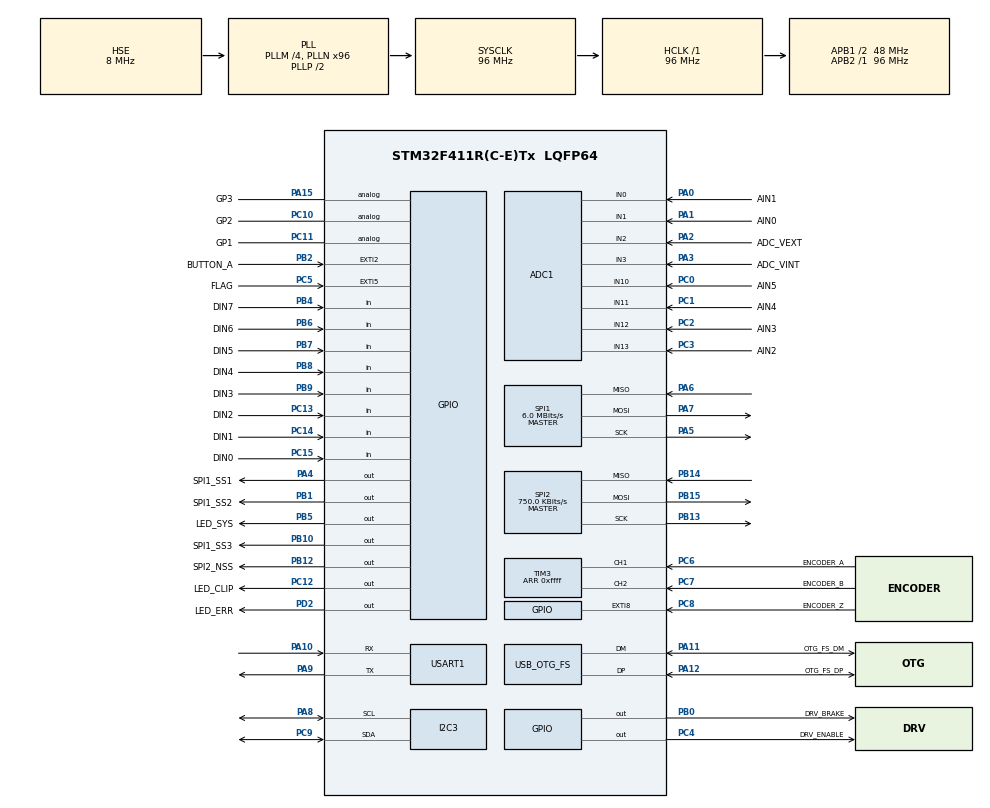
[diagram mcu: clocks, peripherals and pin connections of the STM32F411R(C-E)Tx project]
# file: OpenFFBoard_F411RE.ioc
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ADC1.Channel-1\#ChannelRegularConversion=ADC_CHANNEL_1
ADC1.Channel-12\#ChannelRegularConversion=ADC_CHANNEL_TEMPSENSOR
ADC1.Channel-2\#ChannelRegularConversion=ADC_CHANNEL_0
ADC1.Channel-3\#ChannelRegularConversion=ADC_CHANNEL_13
ADC1.Channel-4\#ChannelRegularConversion=ADC_CHANNEL_12
ADC1.Channel-5\#ChannelRegularConversion=ADC_CHANNEL_11
ADC1.Channel-6\#ChannelRegularConversion=ADC_CHANNEL_10
ADC1.Channel-7\#ChannelRegularConversion=ADC_CHANNEL_2
ADC1.Channel-8\#ChannelRegularConversion=ADC_CHANNEL_3
ADC1.ContinuousConvMode=ENABLE
ADC1.DMAContinuousRequests=ENABLE
ADC1.InjNumberOfConversion=0
ADC1.NbrOfConversion=9
ADC1.Rank-1\#ChannelRegularConversion=1
ADC1.Rank-12\#ChannelRegularConversion=9
ADC1.Rank-2\#ChannelRegularConversion=2
ADC1.Rank-3\#ChannelRegularConversion=3
ADC1.Rank-4\#ChannelRegularConversion=4
ADC1.Rank-5\#ChannelRegularConversion=5
ADC1.Rank-6\#ChannelRegularConversion=6
ADC1.Rank-7\#ChannelRegularConversion=7
ADC1.Rank-8\#ChannelRegularConversion=8
ADC1.SamplingTime-1\#ChannelRegularConversion=ADC_SAMPLETIME_56CYCLES
ADC1.SamplingTime-12\#ChannelRegularConversion=ADC_SAMPLETIME_3CYCLES
ADC1.SamplingTime-2\#ChannelRegularConversion=ADC_SAMPLETIME_56CYCLES
ADC1.SamplingTime-3\#ChannelRegularConversion=ADC_SAMPLETIME_56CYCLES
ADC1.SamplingTime-4\#ChannelRegularConversion=ADC_SAMPLETIME_56CYCLES
ADC1.SamplingTime-5\#ChannelRegularConversion=ADC_SAMPLETIME_56CYCLES
ADC1.SamplingTime-6\#ChannelRegularConversion=ADC_SAMPLETIME_56CYCLES
ADC1.SamplingTime-7\#ChannelRegularConversion=ADC_SAMPLETIME_28CYCLES
ADC1.SamplingTime-8\#ChannelRegularConversion=ADC_SAMPLETIME_28CYCLES
ADC1.master=1
Dma.ADC1.0.Direction=DMA_PERIPH_TO_MEMORY
Dma.ADC1.0.FIFOMode=DMA_FIFOMODE_DISABLE
Dma.ADC1.0.Instance=DMA2_Stream0
Dma.ADC1.0.MemDataAlignment=DMA_MDATAALIGN_WORD
Dma.ADC1.0.MemInc=DMA_MINC_ENABLE
Dma.ADC1.0.Mode=DMA_CIRCULAR
Dma.ADC1.0.PeriphDataAlignment=DMA_PDATAALIGN_WORD
Dma.ADC1.0.PeriphInc=DMA_PINC_DISABLE
Dma.ADC1.0.Priority=DMA_PRIORITY_MEDIUM
Dma.Request0=ADC1
Dma.Request1=SPI1_TX
Dma.Request2=SPI2_RX
Dma.Request3=SPI2_TX
Dma.Request4=SPI1_RX
Dma.SPI1_RX.4.Direction=DMA_PERIPH_TO_MEMORY
Dma.SPI1_RX.4.FIFOMode=DMA_FIFOMODE_DISABLE
Dma.SPI1_RX.4.Instance=DMA2_Stream2
Dma.SPI1_RX.4.MemDataAlignment=DMA_MDATAALIGN_BYTE
Dma.SPI1_RX.4.MemInc=DMA_MINC_ENABLE
Dma.SPI1_RX.4.Mode=DMA_NORMAL
Dma.SPI1_RX.4.PeriphDataAlignment=DMA_PDATAALIGN_BYTE
Dma.SPI1_RX.4.PeriphInc=DMA_PINC_DISABLE
Dma.SPI1_RX.4.Priority=DMA_PRIORITY_HIGH
Dma.SPI1_TX.1.Direction=DMA_MEMORY_TO_PERIPH
Dma.SPI1_TX.1.FIFOMode=DMA_FIFOMODE_DISABLE
Dma.SPI1_TX.1.Instance=DMA2_Stream3
Dma.SPI1_TX.1.MemDataAlignment=DMA_MDATAALIGN_BYTE
Dma.SPI1_TX.1.MemInc=DMA_MINC_ENABLE
Dma.SPI1_TX.1.Mode=DMA_NORMAL
Dma.SPI1_TX.1.PeriphDataAlignment=DMA_PDATAALIGN_BYTE
Dma.SPI1_TX.1.PeriphInc=DMA_PINC_DISABLE
Dma.SPI1_TX.1.Priority=DMA_PRIORITY_HIGH
Dma.SPI2_RX.2.Direction=DMA_PERIPH_TO_MEMORY
Dma.SPI2_RX.2.FIFOMode=DMA_FIFOMODE_DISABLE
Dma.SPI2_RX.2.Instance=DMA1_Stream3
Dma.SPI2_RX.2.MemDataAlignment=DMA_MDATAALIGN_BYTE
Dma.SPI2_RX.2.MemInc=DMA_MINC_ENABLE
Dma.SPI2_RX.2.Mode=DMA_NORMAL
Dma.SPI2_RX.2.PeriphDataAlignment=DMA_PDATAALIGN_BYTE
Dma.SPI2_RX.2.PeriphInc=DMA_PINC_DISABLE
Dma.SPI2_RX.2.Priority=DMA_PRIORITY_LOW
Dma.SPI2_TX.3.Direction=DMA_MEMORY_TO_PERIPH
Dma.SPI2_TX.3.FIFOMode=DMA_FIFOMODE_DISABLE
Dma.SPI2_TX.3.Instance=DMA1_Stream4
Dma.SPI2_TX.3.MemDataAlignment=DMA_MDATAALIGN_BYTE
Dma.SPI2_TX.3.MemInc=DMA_MINC_ENABLE
Dma.SPI2_TX.3.Mode=DMA_NORMAL
Dma.SPI2_TX.3.PeriphDataAlignment=DMA_PDATAALIGN_BYTE
Dma.SPI2_TX.3.PeriphInc=DMA_PINC_DISABLE
Dma.SPI2_TX.3.Priority=DMA_PRIORITY_LOW
FREERTOS.HEAP_NUMBER=4
FREERTOS.Tasks01=defaultTask,13,1024,StartDefaultTask,As weak,NULL,Dynamic,NULL,NULL
FREERTOS.configCHECK_FOR_STACK_OVERFLOW=2
FREERTOS.configENABLE_FPU=1
FREERTOS.configGENERATE_RUN_TIME_STATS=0
FREERTOS.configRECORD_STACK_HIGH_ADDRESS=1
FREERTOS.configTIMER_TASK_PRIORITY=25
FREERTOS.configTIMER_TASK_STACK_DEPTH=128
FREERTOS.configTOTAL_HEAP_SIZE=0xffff
FREERTOS.configUSE_NEWLIB_REENTRANT=1
FREERTOS.configUSE_TICK_HOOK=1
IWDG.Prescaler=IWDG_PRESCALER_16
Mcu.Family=STM32F4
Mcu.Name=STM32F411R(C-E)Tx
Mcu.Package=LQFP64
NVIC.DMA1_Stream3_IRQn=true\:5\:0\:true\:false\:true\:true\:false\:true\:true
NVIC.DMA1_Stream4_IRQn=true\:5\:0\:true\:false\:true\:true\:false\:true\:true
NVIC.DMA2_Stream0_IRQn=true\:5\:0\:true\:true\:true\:2\:true\:false\:true\:true
NVIC.DMA2_Stream2_IRQn=true\:5\:0\:true\:false\:true\:true\:false\:true\:true
NVIC.DMA2_Stream3_IRQn=true\:5\:0\:true\:false\:true\:true\:false\:true\:true
NVIC.EXTI2_IRQn=true\:6\:0\:true\:false\:true\:true\:true\:true\:true
NVIC.EXTI9_5_IRQn=true\:6\:0\:true\:true\:true\:6\:true\:true\:true\:true
NVIC.I2C3_ER_IRQn=true\:10\:0\:true\:false\:true\:true\:true\:true\:true
NVIC.I2C3_EV_IRQn=true\:10\:0\:true\:false\:true\:true\:true\:true\:true
NVIC.OTG_FS_IRQn=true\:14\:0\:true\:false\:true\:true\:true\:false\:true
NVIC.PriorityGroup=NVIC_PRIORITYGROUP_4
NVIC.TIM1_BRK_TIM9_IRQn=true\:6\:0\:true\:false\:true\:true\:true\:true\:true
NVIC.TIM1_TRG_COM_TIM11_IRQn=true\:0\:0\:true\:false\:true\:false\:false\:true\:true
NVIC.TIM2_IRQn=true\:7\:0\:true\:true\:true\:5\:true\:true\:true\:true
NVIC.TIM3_IRQn=true\:6\:0\:true\:true\:true\:4\:true\:true\:true\:true
NVIC.TIM4_IRQn=true\:6\:0\:true\:true\:true\:3\:true\:true\:true\:true
NVIC.TIM5_IRQn=true\:9\:0\:true\:true\:true\:7\:true\:true\:true\:true
NVIC.TimeBase=TIM1_TRG_COM_TIM11_IRQn
NVIC.TimeBaseIP=TIM11
NVIC.USART1_IRQn=true\:6\:0\:true\:true\:true\:1\:true\:true\:true\:true
PA0-WKUP.GPIO_Label=AIN1
PA0-WKUP.Signal=ADCx_IN0
PA1.GPIO_Label=AIN0
PA1.Signal=ADCx_IN1
PA10.GPIO_PuPd=GPIO_PULLUP
PA10.Mode=Asynchronous
PA10.Signal=USART1_RX
PA11.GPIO_Label=OTG_FS_DM
PA11.Mode=Device_Only
PA11.Signal=USB_OTG_FS_DM
PA12.GPIO_Label=OTG_FS_DP
PA12.Mode=Device_Only
PA12.Signal=USB_OTG_FS_DP
PA13.GPIO_Label=SWDIO
PA13.Mode=Serial_Wire
PA13.Signal=SYS_JTMS-SWDIO
PA14.GPIO_Label=SWCLK
PA14.Mode=Serial_Wire
PA14.Signal=SYS_JTCK-SWCLK
PA15.GPIO_Label=GP3
PA15.Signal=GPIO_Analog
PA2.GPIO_Label=ADC_VEXT
PA2.Signal=ADCx_IN2
PA3.GPIO_Label=ADC_VINT
PA3.Signal=ADCx_IN3
PA4.GPIO_Label=SPI1_SS1
PA4.GPIO_Speed=GPIO_SPEED_FREQ_VERY_HIGH
PA4.PinState=GPIO_PIN_SET
PA4.Signal=GPIO_Output
PA5.Mode=Full_Duplex_Master
PA5.Signal=SPI1_SCK
PA6.GPIO_PuPd=GPIO_NOPULL
PA6.Mode=Full_Duplex_Master
PA6.Signal=SPI1_MISO
PA7.Mode=Full_Duplex_Master
PA7.Signal=SPI1_MOSI
PA8.GPIO_Pu=GPIO_PULLUP
PA8.Mode=I2C
PA8.Signal=I2C3_SCL
PA9.Mode=Asynchronous
PA9.Signal=USART1_TX
PB0.GPIO_Label=DRV_BRAKE
PB0.GPIO_PuPd=GPIO_NOPULL
PB0.GPIO_Speed=GPIO_SPEED_FREQ_MEDIUM
PB0.Signal=GPIO_Output
PB1.GPIO_Label=SPI1_SS2
PB1.GPIO_Speed=GPIO_SPEED_FREQ_VERY_HIGH
PB1.PinState=GPIO_PIN_SET
PB1.Signal=GPIO_Output
PB10.GPIO_Label=SPI1_SS3
PB10.GPIO_Speed=GPIO_SPEED_FREQ_VERY_HIGH
PB10.PinState=GPIO_PIN_SET
PB10.Signal=GPIO_Output
PB12.GPIO_Label=SPI2_NSS
PB12.GPIO_Speed=GPIO_SPEED_FREQ_HIGH
PB12.Signal=GPIO_Output
PB13.Mode=Full_Duplex_Master
PB13.Signal=SPI2_SCK
PB14.Mode=Full_Duplex_Master
PB14.Signal=SPI2_MISO
PB15.Mode=Full_Duplex_Master
PB15.Signal=SPI2_MOSI
PB2.GPIO_Label=BUTTON_A
PB2.Signal=GPXTI2
PB3.Signal=SYS_JTDO-SWO
PB4.GPIO_Label=DIN7
PB4.GPIO_PuPd=GPIO_PULLUP
PB4.Signal=GPIO_Input
PB5.GPIO_Label=LED_SYS
PB5.Signal=GPIO_Output
PB6.GPIO_Label=DIN6
PB6.GPIO_PuPd=GPIO_PULLUP
PB6.Signal=GPIO_Input
PB7.GPIO_Label=DIN5
PB7.GPIO_PuPd=GPIO_PULLUP
PB7.Signal=GPIO_Input
PB8.GPIO_Label=DIN4
PB8.GPIO_PuPd=GPIO_PULLUP
PB8.Signal=GPIO_Input
PB9.GPIO_Label=DIN3
PB9.GPIO_PuPd=GPIO_PULLUP
PB9.Signal=GPIO_Input
PC0.GPIO_Label=AIN5
PC0.Signal=ADCx_IN10
PC1.GPIO_Label=AIN4
PC1.Signal=ADCx_IN11
PC10.GPIO_Label=GP2
PC10.Signal=GPIO_Analog
PC11.GPIO_Label=GP1
PC11.Signal=GPIO_Analog
PC12.GPIO_Label=LED_CLIP
PC12.Signal=GPIO_Output
PC13-ANTI_TAMP.GPIO_Label=DIN2
PC13-ANTI_TAMP.GPIO_PuPd=GPIO_PULLUP
PC13-ANTI_TAMP.Signal=GPIO_Input
PC14-OSC32_IN.GPIO_Label=DIN1
PC14-OSC32_IN.GPIO_PuPd=GPIO_PULLUP
PC14-OSC32_IN.Signal=GPIO_Input
PC15-OSC32_OUT.GPIO_Label=DIN0
PC15-OSC32_OUT.GPIO_PuPd=GPIO_PULLUP
PC15-OSC32_OUT.Signal=GPIO_Input
PC2.GPIO_Label=AIN3
PC2.Signal=ADCx_IN12
PC3.GPIO_Label=AIN2
PC3.Signal=ADCx_IN13
PC4.GPIO_Label=DRV_ENABLE
PC4.GPIO_PuPd=GPIO_NOPULL
PC4.Signal=GPIO_Output
PC5.GPIO_Label=FLAG
PC5.Signal=GPXTI5
PC6.GPIO_Label=ENCODER_A
PC6.GPIO_PuPd=GPIO_NOPULL
PC6.GPIO_Speed=GPIO_SPEED_FREQ_MEDIUM
PC6.Signal=S_TIM3_CH1
PC7.GPIO_Label=ENCODER_B
PC7.GPIO_PuPd=GPIO_NOPULL
PC7.GPIO_Speed=GPIO_SPEED_FREQ_MEDIUM
PC7.Signal=S_TIM3_CH2
PC8.GPIO_Label=ENCODER_Z
PC8.GPIO_PuPd=GPIO_NOPULL
PC8.Signal=GPXTI8
PC9.GPIO_Pu=GPIO_PULLUP
PC9.Mode=I2C
PC9.Signal=I2C3_SDA
PD2.GPIO_Label=LED_ERR
PD2.Signal=GPIO_Output
PH0\ -\ OSC_IN.Mode=HSE-External-Oscillator
PH0\ -\ OSC_IN.Signal=RCC_OSC_IN
PH1\ -\ OSC_OUT.Mode=HSE-External-Oscillator
PH1\ -\ OSC_OUT.Signal=RCC_OSC_OUT
ProjectManager.HeapSize=0x400
ProjectManager.StackSize=0x400
ProjectManager.TargetToolchain=STM32CubeIDE
RCC.48MHZClocksFreq_Value=48000000
RCC.AHBFreq_Value=96000000
RCC.APB1CLKDivider=RCC_HCLK_DIV2
RCC.APB1Freq_Value=48000000
RCC.APB1TimFreq_Value=96000000
RCC.APB2Freq_Value=96000000
RCC.APB2TimFreq_Value=96000000
RCC.CortexFreq_Value=96000000
RCC.HCLKFreq_Value=96000000
RCC.HSE_VALUE=8000000
RCC.HSI_VALUE=16000000
RCC.LSE_VALUE=32768
RCC.PLLM=4
RCC.PLLN=96
RCC.SYSCLKFreq_VALUE=96000000
RCC.SYSCLKSource=RCC_SYSCLKSOURCE_PLLCLK
RCC.VCOOutputFreq_Value=192000000
SH.ADCx_IN0.0=ADC1_IN0,IN0
SH.ADCx_IN1.0=ADC1_IN1,IN1
SH.ADCx_IN10.0=ADC1_IN10,IN10
SH.ADCx_IN11.0=ADC1_IN11,IN11
SH.ADCx_IN12.0=ADC1_IN12,IN12
SH.ADCx_IN13.0=ADC1_IN13,IN13
SH.ADCx_IN2.0=ADC1_IN2,IN2
SH.ADCx_IN3.0=ADC1_IN3,IN3
SH.S_TIM3_CH1.0=TIM3_CH1,Encoder_Interface
SH.S_TIM3_CH2.0=TIM3_CH2,Encoder_Interface
SPI1.BaudRatePrescaler=SPI_BAUDRATEPRESCALER_16
SPI1.CLKPhase=SPI_PHASE_2EDGE
SPI1.CLKPolarity=SPI_POLARITY_HIGH
SPI1.CalculateBaudRate=6.0 MBits/s
SPI1.DataSize=SPI_DATASIZE_8BIT
SPI1.Direction=SPI_DIRECTION_2LINES
SPI1.FirstBit=SPI_FIRSTBIT_MSB
SPI1.Mode=SPI_MODE_MASTER
SPI1.VirtualType=VM_MASTER
SPI2.BaudRatePrescaler=SPI_BAUDRATEPRESCALER_64
SPI2.CLKPhase=SPI_PHASE_1EDGE
SPI2.CLKPolarity=SPI_POLARITY_LOW
SPI2.CalculateBaudRate=750.0 KBits/s
SPI2.Direction=SPI_DIRECTION_2LINES
SPI2.FirstBit=SPI_FIRSTBIT_MSB
SPI2.Mode=SPI_MODE_MASTER
SPI2.VirtualType=VM_MASTER
TIM1.Period=0xffff
TIM1.Prescaler=96-1
TIM10.Prescaler=96-1
TIM2.Period=500
TIM2.Prescaler=96-1
TIM3.CounterMode=TIM_COUNTERMODE_CENTERALIGNED1
TIM3.EncoderMode=TIM_ENCODERMODE_TI12
TIM3.Period=0xffff
TIM4.Period=0xffff
TIM4.Prescaler=96-1
TIM5.Period=0xffffffff
TIM5.Prescaler=96-1
USART1.VirtualMode=VM_ASYNC
USB_OTG_FS.Sof_enable=DISABLE
USB_OTG_FS.VirtualMode=Device_Only
USB_OTG_FS.lpm_enable=DISABLE
VP_ADC1_TempSens_Input.Mode=IN-TempSens
VP_FREERTOS_VS_CMSIS_V2.Mode=CMSIS_V2
VP_IWDG_VS_IWDG.Mode=IWDG_Activate
VP_SYS_VS_tim11.Mode=TIM11
VP_TIM10_VS_ClockSourceINT.Mode=Enable_Timer
VP_TIM1_VS_ClockSourceINT.Mode=Internal
VP_TIM2_VS_ClockSourceINT.Mode=Internal
VP_TIM4_VS_ClockSourceINT.Mode=Internal
VP_TIM5_VS_ClockSourceINT.Mode=Internal
VP_TIM9_VS_ClockSourceINT.Mode=Internal
board=custom

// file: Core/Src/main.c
/* USER CODE BEGIN Header */
/**
  ******************************************************************************
  * @file           : main.c
  * @brief          : Main program body
  ******************************************************************************
  * @attention
  *
  * <h2><center>&copy; Copyright (c) 2020 STMicroelectronics.
  * All rights reserved.</center></h2>
  *
  * This software component is licensed by ST under BSD 3-Clause license,
  * the "License"; You may not use this file except in compliance with the
  * License. You may obtain a copy of the License at:
  *                        opensource.org/licenses/BSD-3-Clause
  *
  ******************************************************************************
  */
/* USER CODE END Header */
#include "main.h"
#include "cmsis_os.h"

/* USER CODE BEGIN Includes */
//#include <cppmain.h>
extern void cppmain();
#include "global_callbacks.h"
/* USER CODE END Includes */

 ADC_HandleTypeDef hadc1;
DMA_HandleTypeDef hdma_adc1;

I2C_HandleTypeDef hi2c3;

IWDG_HandleTypeDef hiwdg;

SPI_HandleTypeDef hspi1;
SPI_HandleTypeDef hspi2;
DMA_HandleTypeDef hdma_spi1_tx;
DMA_HandleTypeDef hdma_spi1_rx;
DMA_HandleTypeDef hdma_spi2_rx;
DMA_HandleTypeDef hdma_spi2_tx;

TIM_HandleTypeDef htim1;
TIM_HandleTypeDef htim2;
TIM_HandleTypeDef htim3;
TIM_HandleTypeDef htim4;
TIM_HandleTypeDef htim5;
TIM_HandleTypeDef htim9;
TIM_HandleTypeDef htim10;

UART_HandleTypeDef huart1;

PCD_HandleTypeDef hpcd_USB_OTG_FS;

/* Definitions for defaultTask */
osThreadId_t defaultTaskHandle;
const osThreadAttr_t defaultTask_attributes = {
  .name = "defaultTask",
  .stack_size = 1024 * 4,
  .priority = (osPriority_t) osPriorityLow5,
};

void SystemClock_Config(void);
static void MX_GPIO_Init(void);
static void MX_DMA_Init(void);
static void MX_TIM3_Init(void);
static void MX_ADC1_Init(void);
static void MX_TIM2_Init(void);
static void MX_TIM1_Init(void);
static void MX_USART1_UART_Init(void);
static void MX_SPI2_Init(void);
static void MX_TIM4_Init(void);
static void MX_TIM5_Init(void);
static void MX_I2C3_Init(void);
static void MX_SPI1_Init(void);
static void MX_TIM10_Init(void);
static void MX_TIM9_Init(void);
static void MX_IWDG_Init(void);
void StartDefaultTask(void *argument);

static void MX_NVIC_Init(void);
/* USER CODE BEGIN PFP */
uint32_t dfu_reset_to_bootloader_magic;
/* USER CODE END PFP */

/* USER CODE BEGIN 0 */

// dummy main
__attribute__((weak)) void cppmain(){
	Error_Handler();
}

/* USER CODE END 0 */

int main(void)
{

  /* MCU Configuration--------------------------------------------------------*/

  /* Reset of all peripherals, Initializes the Flash interface and the Systick. */
  HAL_Init();

  /* Configure the system clock */
  SystemClock_Config();

  /* Initialize all configured peripherals */
  MX_GPIO_Init();
  MX_DMA_Init();
  MX_TIM3_Init();
  MX_ADC1_Init();
  MX_TIM2_Init();
  MX_TIM1_Init();
  MX_USART1_UART_Init();
  MX_SPI2_Init();
  MX_TIM4_Init();
  MX_TIM5_Init();
  MX_I2C3_Init();
  MX_SPI1_Init();
  MX_TIM10_Init();
  MX_TIM9_Init();
  MX_IWDG_Init();

  /* Initialize interrupts */
  MX_NVIC_Init();
  /* USER CODE BEGIN 2 */
  MX_USB_OTG_FS_PCD_Init();
  //Test leds
  HAL_GPIO_WritePin(LED_SYS_GPIO_Port, LED_SYS_Pin, GPIO_PIN_SET);
  HAL_GPIO_WritePin(LED_CLIP_GPIO_Port, LED_CLIP_Pin, GPIO_PIN_SET);
  HAL_GPIO_WritePin(LED_ERR_GPIO_Port, LED_ERR_Pin, GPIO_PIN_SET);
  HAL_Delay(100);

  /* USER CODE END 2 */

  /* Init scheduler */
  osKernelInitialize();

  /* Create the thread(s) */
  /* creation of defaultTask */
  defaultTaskHandle = osThreadNew(StartDefaultTask, NULL, &defaultTask_attributes);

  /* Start scheduler */
  osKernelStart();

  /* We should never get here as control is now taken by the scheduler */
  /* Infinite loop */
  /* USER CODE BEGIN WHILE */

  while (1)
  {
	  cppmain();
    /* USER CODE END WHILE */

  }
}

void SystemClock_Config(void)
{
  RCC_OscInitTypeDef RCC_OscInitStruct = {0};
  RCC_ClkInitTypeDef RCC_ClkInitStruct = {0};

  /** Configure the main internal regulator output voltage
  */
  __HAL_RCC_PWR_CLK_ENABLE();
  __HAL_PWR_VOLTAGESCALING_CONFIG(PWR_REGULATOR_VOLTAGE_SCALE1);

  /** Initializes the RCC Oscillators according to the specified parameters
  * in the RCC_OscInitTypeDef structure.
  */
  RCC_OscInitStruct.OscillatorType = RCC_OSCILLATORTYPE_LSI|RCC_OSCILLATORTYPE_HSE;
  RCC_OscInitStruct.HSEState = RCC_HSE_ON;
  RCC_OscInitStruct.LSIState = RCC_LSI_ON;
  RCC_OscInitStruct.PLL.PLLState = RCC_PLL_ON;
  RCC_OscInitStruct.PLL.PLLSource = RCC_PLLSOURCE_HSE;
  RCC_OscInitStruct.PLL.PLLM = 4;
  RCC_OscInitStruct.PLL.PLLN = 96;
  RCC_OscInitStruct.PLL.PLLP = RCC_PLLP_DIV2;
  RCC_OscInitStruct.PLL.PLLQ = 4;
  if (HAL_RCC_OscConfig(&RCC_OscInitStruct) != HAL_OK)
  {
    Error_Handler();
  }

  /** Initializes the CPU, AHB and APB buses clocks
  */
  RCC_ClkInitStruct.ClockType = RCC_CLOCKTYPE_HCLK|RCC_CLOCKTYPE_SYSCLK
                              |RCC_CLOCKTYPE_PCLK1|RCC_CLOCKTYPE_PCLK2;
  RCC_ClkInitStruct.SYSCLKSource = RCC_SYSCLKSOURCE_PLLCLK;
  RCC_ClkInitStruct.AHBCLKDivider = RCC_SYSCLK_DIV1;
  RCC_ClkInitStruct.APB1CLKDivider = RCC_HCLK_DIV2;
  RCC_ClkInitStruct.APB2CLKDivider = RCC_HCLK_DIV1;

  if (HAL_RCC_ClockConfig(&RCC_ClkInitStruct, FLASH_LATENCY_3) != HAL_OK)
  {
    Error_Handler();
  }
}

/**
  * @brief NVIC Configuration.
  * @retval None
  */
static void MX_NVIC_Init(void)
{
  /* USART1_IRQn interrupt configuration */
  HAL_NVIC_SetPriority(USART1_IRQn, 6, 0);
  HAL_NVIC_EnableIRQ(USART1_IRQn);
  /* DMA2_Stream0_IRQn interrupt configuration */
  HAL_NVIC_SetPriority(DMA2_Stream0_IRQn, 5, 0);
  HAL_NVIC_EnableIRQ(DMA2_Stream0_IRQn);
  /* TIM4_IRQn interrupt configuration */
  HAL_NVIC_SetPriority(TIM4_IRQn, 6, 0);
  HAL_NVIC_EnableIRQ(TIM4_IRQn);
  /* TIM3_IRQn interrupt configuration */
  HAL_NVIC_SetPriority(TIM3_IRQn, 6, 0);
  HAL_NVIC_EnableIRQ(TIM3_IRQn);
  /* TIM2_IRQn interrupt configuration */
  HAL_NVIC_SetPriority(TIM2_IRQn, 7, 0);
  HAL_NVIC_EnableIRQ(TIM2_IRQn);
  /* EXTI9_5_IRQn interrupt configuration */
  HAL_NVIC_SetPriority(EXTI9_5_IRQn, 6, 0);
  HAL_NVIC_EnableIRQ(EXTI9_5_IRQn);
  /* TIM5_IRQn interrupt configuration */
  HAL_NVIC_SetPriority(TIM5_IRQn, 9, 0);
  HAL_NVIC_EnableIRQ(TIM5_IRQn);
}

static void MX_ADC1_Init(void)
{

  ADC_ChannelConfTypeDef sConfig = {0};

  /** Configure the global features of the ADC (Clock, Resolution, Data Alignment and number of conversion)
  */
  hadc1.Instance = ADC1;
  hadc1.Init.ClockPrescaler = ADC_CLOCK_SYNC_PCLK_DIV4;
  hadc1.Init.Resolution = ADC_RESOLUTION_12B;
  hadc1.Init.ScanConvMode = ENABLE;
  hadc1.Init.ContinuousConvMode = ENABLE;
  hadc1.Init.DiscontinuousConvMode = DISABLE;
  hadc1.Init.ExternalTrigConvEdge = ADC_EXTERNALTRIGCONVEDGE_NONE;
  hadc1.Init.ExternalTrigConv = ADC_SOFTWARE_START;
  hadc1.Init.DataAlign = ADC_DATAALIGN_RIGHT;
  hadc1.Init.NbrOfConversion = 9;
  hadc1.Init.DMAContinuousRequests = ENABLE;
  hadc1.Init.EOCSelection = ADC_EOC_SINGLE_CONV;
  if (HAL_ADC_Init(&hadc1) != HAL_OK)
  {
    Error_Handler();
  }

  /** Configure for the selected ADC regular channel its corresponding rank in the sequencer and its sample time.
  */
  sConfig.Channel = ADC_CHANNEL_1;
  sConfig.Rank = 1;
  sConfig.SamplingTime = ADC_SAMPLETIME_56CYCLES;
  if (HAL_ADC_ConfigChannel(&hadc1, &sConfig) != HAL_OK)
  {
    Error_Handler();
  }

  /** Configure for the selected ADC regular channel its corresponding rank in the sequencer and its sample time.
  */
  sConfig.Channel = ADC_CHANNEL_0;
  sConfig.Rank = 2;
  if (HAL_ADC_ConfigChannel(&hadc1, &sConfig) != HAL_OK)
  {
    Error_Handler();
  }

  /** Configure for the selected ADC regular channel its corresponding rank in the sequencer and its sample time.
  */
  sConfig.Channel = ADC_CHANNEL_13;
  sConfig.Rank = 3;
  if (HAL_ADC_ConfigChannel(&hadc1, &sConfig) != HAL_OK)
  {
    Error_Handler();
  }

  /** Configure for the selected ADC regular channel its corresponding rank in the sequencer and its sample time.
  */
  sConfig.Channel = ADC_CHANNEL_12;
  sConfig.Rank = 4;
  if (HAL_ADC_ConfigChannel(&hadc1, &sConfig) != HAL_OK)
  {
    Error_Handler();
  }

  /** Configure for the selected ADC regular channel its corresponding rank in the sequencer and its sample time.
  */
  sConfig.Channel = ADC_CHANNEL_11;
  sConfig.Rank = 5;
  if (HAL_ADC_ConfigChannel(&hadc1, &sConfig) != HAL_OK)
  {
    Error_Handler();
  }

  /** Configure for the selected ADC regular channel its corresponding rank in the sequencer and its sample time.
  */
  sConfig.Channel = ADC_CHANNEL_10;
  sConfig.Rank = 6;
  if (HAL_ADC_ConfigChannel(&hadc1, &sConfig) != HAL_OK)
  {
    Error_Handler();
  }

  /** Configure for the selected ADC regular channel its corresponding rank in the sequencer and its sample time.
  */
  sConfig.Channel = ADC_CHANNEL_2;
  sConfig.Rank = 7;
  sConfig.SamplingTime = ADC_SAMPLETIME_28CYCLES;
  if (HAL_ADC_ConfigChannel(&hadc1, &sConfig) != HAL_OK)
  {
    Error_Handler();
  }

  /** Configure for the selected ADC regular channel its corresponding rank in the sequencer and its sample time.
  */
  sConfig.Channel = ADC_CHANNEL_3;
  sConfig.Rank = 8;
  if (HAL_ADC_ConfigChannel(&hadc1, &sConfig) != HAL_OK)
  {
    Error_Handler();
  }

  /** Configure for the selected ADC regular channel its corresponding rank in the sequencer and its sample time.
  */
  sConfig.Channel = ADC_CHANNEL_TEMPSENSOR;
  sConfig.Rank = 9;
  sConfig.SamplingTime = ADC_SAMPLETIME_3CYCLES;
  if (HAL_ADC_ConfigChannel(&hadc1, &sConfig) != HAL_OK)
  {
    Error_Handler();
  }

}

static void MX_I2C3_Init(void)
{

  hi2c3.Instance = I2C3;
  hi2c3.Init.ClockSpeed = 100000;
  hi2c3.Init.DutyCycle = I2C_DUTYCYCLE_2;
  hi2c3.Init.OwnAddress1 = 0;
  hi2c3.Init.AddressingMode = I2C_ADDRESSINGMODE_7BIT;
  hi2c3.Init.DualAddressMode = I2C_DUALADDRESS_DISABLE;
  hi2c3.Init.OwnAddress2 = 0;
  hi2c3.Init.GeneralCallMode = I2C_GENERALCALL_DISABLE;
  hi2c3.Init.NoStretchMode = I2C_NOSTRETCH_DISABLE;
  if (HAL_I2C_Init(&hi2c3) != HAL_OK)
  {
    Error_Handler();
  }

}

static void MX_IWDG_Init(void)
{

  hiwdg.Instance = IWDG;
  hiwdg.Init.Prescaler = IWDG_PRESCALER_16;
  hiwdg.Init.Reload = 4095;
  if (HAL_IWDG_Init(&hiwdg) != HAL_OK)
  {
    Error_Handler();
  }

}

static void MX_SPI1_Init(void)
{

  /* SPI1 parameter configuration*/
  hspi1.Instance = SPI1;
  hspi1.Init.Mode = SPI_MODE_MASTER;
  hspi1.Init.Direction = SPI_DIRECTION_2LINES;
  hspi1.Init.DataSize = SPI_DATASIZE_8BIT;
  hspi1.Init.CLKPolarity = SPI_POLARITY_HIGH;
  hspi1.Init.CLKPhase = SPI_PHASE_2EDGE;
  hspi1.Init.NSS = SPI_NSS_SOFT;
  hspi1.Init.BaudRatePrescaler = SPI_BAUDRATEPRESCALER_16;
  hspi1.Init.FirstBit = SPI_FIRSTBIT_MSB;
  hspi1.Init.TIMode = SPI_TIMODE_DISABLE;
  hspi1.Init.CRCCalculation = SPI_CRCCALCULATION_DISABLE;
  hspi1.Init.CRCPolynomial = 10;
  if (HAL_SPI_Init(&hspi1) != HAL_OK)
  {
    Error_Handler();
  }

}

static void MX_SPI2_Init(void)
{

  /* SPI2 parameter configuration*/
  hspi2.Instance = SPI2;
  hspi2.Init.Mode = SPI_MODE_MASTER;
  hspi2.Init.Direction = SPI_DIRECTION_2LINES;
  hspi2.Init.DataSize = SPI_DATASIZE_8BIT;
  hspi2.Init.CLKPolarity = SPI_POLARITY_LOW;
  hspi2.Init.CLKPhase = SPI_PHASE_1EDGE;
  hspi2.Init.NSS = SPI_NSS_SOFT;
  hspi2.Init.BaudRatePrescaler = SPI_BAUDRATEPRESCALER_64;
  hspi2.Init.FirstBit = SPI_FIRSTBIT_MSB;
  hspi2.Init.TIMode = SPI_TIMODE_DISABLE;
  hspi2.Init.CRCCalculation = SPI_CRCCALCULATION_DISABLE;
  hspi2.Init.CRCPolynomial = 10;
  if (HAL_SPI_Init(&hspi2) != HAL_OK)
  {
    Error_Handler();
  }

}

static void MX_TIM1_Init(void)
{

  TIM_ClockConfigTypeDef sClockSourceConfig = {0};
  TIM_MasterConfigTypeDef sMasterConfig = {0};

  htim1.Instance = TIM1;
  htim1.Init.Prescaler = 96-1;
  htim1.Init.CounterMode = TIM_COUNTERMODE_UP;
  htim1.Init.Period = 0xffff;
  htim1.Init.ClockDivision = TIM_CLOCKDIVISION_DIV1;
  htim1.Init.RepetitionCounter = 0;
  htim1.Init.AutoReloadPreload = TIM_AUTORELOAD_PRELOAD_DISABLE;
  if (HAL_TIM_Base_Init(&htim1) != HAL_OK)
  {
    Error_Handler();
  }
  sClockSourceConfig.ClockSource = TIM_CLOCKSOURCE_INTERNAL;
  if (HAL_TIM_ConfigClockSource(&htim1, &sClockSourceConfig) != HAL_OK)
  {
    Error_Handler();
  }
  sMasterConfig.MasterOutputTrigger = TIM_TRGO_RESET;
  sMasterConfig.MasterSlaveMode = TIM_MASTERSLAVEMODE_DISABLE;
  if (HAL_TIMEx_MasterConfigSynchronization(&htim1, &sMasterConfig) != HAL_OK)
  {
    Error_Handler();
  }

}

static void MX_TIM2_Init(void)
{

  TIM_ClockConfigTypeDef sClockSourceConfig = {0};
  TIM_MasterConfigTypeDef sMasterConfig = {0};

  htim2.Instance = TIM2;
  htim2.Init.Prescaler = 96-1;
  htim2.Init.CounterMode = TIM_COUNTERMODE_UP;
  htim2.Init.Period = 500;
  htim2.Init.ClockDivision = TIM_CLOCKDIVISION_DIV1;
  htim2.Init.AutoReloadPreload = TIM_AUTORELOAD_PRELOAD_DISABLE;
  if (HAL_TIM_Base_Init(&htim2) != HAL_OK)
  {
    Error_Handler();
  }
  sClockSourceConfig.ClockSource = TIM_CLOCKSOURCE_INTERNAL;
  if (HAL_TIM_ConfigClockSource(&htim2, &sClockSourceConfig) != HAL_OK)
  {
    Error_Handler();
  }
  sMasterConfig.MasterOutputTrigger = TIM_TRGO_RESET;
  sMasterConfig.MasterSlaveMode = TIM_MASTERSLAVEMODE_DISABLE;
  if (HAL_TIMEx_MasterConfigSynchronization(&htim2, &sMasterConfig) != HAL_OK)
  {
    Error_Handler();
  }

}

static void MX_TIM3_Init(void)
{

  TIM_Encoder_InitTypeDef sConfig = {0};
  TIM_MasterConfigTypeDef sMasterConfig = {0};

  htim3.Instance = TIM3;
  htim3.Init.Prescaler = 0;
  htim3.Init.CounterMode = TIM_COUNTERMODE_CENTERALIGNED1;
  htim3.Init.Period = 0xffff;
  htim3.Init.ClockDivision = TIM_CLOCKDIVISION_DIV1;
  htim3.Init.AutoReloadPreload = TIM_AUTORELOAD_PRELOAD_DISABLE;
  sConfig.EncoderMode = TIM_ENCODERMODE_TI12;
  sConfig.IC1Polarity = TIM_ICPOLARITY_RISING;
  sConfig.IC1Selection = TIM_ICSELECTION_DIRECTTI;
  sConfig.IC1Prescaler = TIM_ICPSC_DIV1;
  sConfig.IC1Filter = 0;
  sConfig.IC2Polarity = TIM_ICPOLARITY_RISING;
  sConfig.IC2Selection = TIM_ICSELECTION_DIRECTTI;
  sConfig.IC2Prescaler = TIM_ICPSC_DIV1;
  sConfig.IC2Filter = 0;
  if (HAL_TIM_Encoder_Init(&htim3, &sConfig) != HAL_OK)
  {
    Error_Handler();
  }
  sMasterConfig.MasterOutputTrigger = TIM_TRGO_RESET;
  sMasterConfig.MasterSlaveMode = TIM_MASTERSLAVEMODE_DISABLE;
  if (HAL_TIMEx_MasterConfigSynchronization(&htim3, &sMasterConfig) != HAL_OK)
  {
    Error_Handler();
  }

}

static void MX_TIM4_Init(void)
{

  TIM_ClockConfigTypeDef sClockSourceConfig = {0};
  TIM_MasterConfigTypeDef sMasterConfig = {0};

  htim4.Instance = TIM4;
  htim4.Init.Prescaler = 96-1;
  htim4.Init.CounterMode = TIM_COUNTERMODE_UP;
  htim4.Init.Period = 0xffff;
  htim4.Init.ClockDivision = TIM_CLOCKDIVISION_DIV1;
  htim4.Init.AutoReloadPreload = TIM_AUTORELOAD_PRELOAD_DISABLE;
  if (HAL_TIM_Base_Init(&htim4) != HAL_OK)
  {
    Error_Handler();
  }
  sClockSourceConfig.ClockSource = TIM_CLOCKSOURCE_INTERNAL;
  if (HAL_TIM_ConfigClockSource(&htim4, &sClockSourceConfig) != HAL_OK)
  {
    Error_Handler();
  }
  sMasterConfig.MasterOutputTrigger = TIM_TRGO_RESET;
  sMasterConfig.MasterSlaveMode = TIM_MASTERSLAVEMODE_DISABLE;
  if (HAL_TIMEx_MasterConfigSynchronization(&htim4, &sMasterConfig) != HAL_OK)
  {
    Error_Handler();
  }

}

static void MX_TIM5_Init(void)
{

  TIM_ClockConfigTypeDef sClockSourceConfig = {0};
  TIM_MasterConfigTypeDef sMasterConfig = {0};

  htim5.Instance = TIM5;
  htim5.Init.Prescaler = 96-1;
  htim5.Init.CounterMode = TIM_COUNTERMODE_UP;
  htim5.Init.Period = 0xffffffff;
  htim5.Init.ClockDivision = TIM_CLOCKDIVISION_DIV1;
  htim5.Init.AutoReloadPreload = TIM_AUTORELOAD_PRELOAD_DISABLE;
  if (HAL_TIM_Base_Init(&htim5) != HAL_OK)
  {
    Error_Handler();
  }
  sClockSourceConfig.ClockSource = TIM_CLOCKSOURCE_INTERNAL;
  if (HAL_TIM_ConfigClockSource(&htim5, &sClockSourceConfig) != HAL_OK)
  {
    Error_Handler();
  }
  sMasterConfig.MasterOutputTrigger = TIM_TRGO_RESET;
  sMasterConfig.MasterSlaveMode = TIM_MASTERSLAVEMODE_DISABLE;
  if (HAL_TIMEx_MasterConfigSynchronization(&htim5, &sMasterConfig) != HAL_OK)
  {
    Error_Handler();
  }

}

static void MX_TIM9_Init(void)
{

  TIM_ClockConfigTypeDef sClockSourceConfig = {0};

  htim9.Instance = TIM9;
  htim9.Init.Prescaler = 0;
  htim9.Init.CounterMode = TIM_COUNTERMODE_UP;
  htim9.Init.Period = 65535;
  htim9.Init.ClockDivision = TIM_CLOCKDIVISION_DIV1;
  htim9.Init.AutoReloadPreload = TIM_AUTORELOAD_PRELOAD_DISABLE;
  if (HAL_TIM_Base_Init(&htim9) != HAL_OK)
  {
    Error_Handler();
  }
  sClockSourceConfig.ClockSource = TIM_CLOCKSOURCE_INTERNAL;
  if (HAL_TIM_ConfigClockSource(&htim9, &sClockSourceConfig) != HAL_OK)
  {
    Error_Handler();
  }

}

static void MX_TIM10_Init(void)
{

  htim10.Instance = TIM10;
  htim10.Init.Prescaler = 96-1;
  htim10.Init.CounterMode = TIM_COUNTERMODE_UP;
  htim10.Init.Period = 65535;
  htim10.Init.ClockDivision = TIM_CLOCKDIVISION_DIV1;
  htim10.Init.AutoReloadPreload = TIM_AUTORELOAD_PRELOAD_DISABLE;
  if (HAL_TIM_Base_Init(&htim10) != HAL_OK)
  {
    Error_Handler();
  }

}

static void MX_USART1_UART_Init(void)
{

  huart1.Instance = USART1;
  huart1.Init.BaudRate = 115200;
  huart1.Init.WordLength = UART_WORDLENGTH_8B;
  huart1.Init.StopBits = UART_STOPBITS_1;
  huart1.Init.Parity = UART_PARITY_NONE;
  huart1.Init.Mode = UART_MODE_TX_RX;
  huart1.Init.HwFlowCtl = UART_HWCONTROL_NONE;
  huart1.Init.OverSampling = UART_OVERSAMPLING_16;
  if (HAL_UART_Init(&huart1) != HAL_OK)
  {
    Error_Handler();
  }

}

void MX_USB_OTG_FS_PCD_Init(void)
{

  hpcd_USB_OTG_FS.Instance = USB_OTG_FS;
  hpcd_USB_OTG_FS.Init.dev_endpoints = 4;
  hpcd_USB_OTG_FS.Init.speed = PCD_SPEED_FULL;
  hpcd_USB_OTG_FS.Init.dma_enable = DISABLE;
  hpcd_USB_OTG_FS.Init.phy_itface = PCD_PHY_EMBEDDED;
  hpcd_USB_OTG_FS.Init.Sof_enable = DISABLE;
  hpcd_USB_OTG_FS.Init.low_power_enable = DISABLE;
  hpcd_USB_OTG_FS.Init.lpm_enable = DISABLE;
  hpcd_USB_OTG_FS.Init.vbus_sensing_enable = DISABLE;
  hpcd_USB_OTG_FS.Init.use_dedicated_ep1 = DISABLE;
  if (HAL_PCD_Init(&hpcd_USB_OTG_FS) != HAL_OK)
  {
    Error_Handler();
  }

}

static void MX_DMA_Init(void)
{

  /* DMA controller clock enable */
  __HAL_RCC_DMA2_CLK_ENABLE();
  __HAL_RCC_DMA1_CLK_ENABLE();

  /* DMA interrupt init */
  /* DMA1_Stream3_IRQn interrupt configuration */
  HAL_NVIC_SetPriority(DMA1_Stream3_IRQn, 5, 0);
  HAL_NVIC_EnableIRQ(DMA1_Stream3_IRQn);
  /* DMA1_Stream4_IRQn interrupt configuration */
  HAL_NVIC_SetPriority(DMA1_Stream4_IRQn, 5, 0);
  HAL_NVIC_EnableIRQ(DMA1_Stream4_IRQn);
  /* DMA2_Stream2_IRQn interrupt configuration */
  HAL_NVIC_SetPriority(DMA2_Stream2_IRQn, 5, 0);
  HAL_NVIC_EnableIRQ(DMA2_Stream2_IRQn);
  /* DMA2_Stream3_IRQn interrupt configuration */
  HAL_NVIC_SetPriority(DMA2_Stream3_IRQn, 5, 0);
  HAL_NVIC_EnableIRQ(DMA2_Stream3_IRQn);

}

static void MX_GPIO_Init(void)
{
  GPIO_InitTypeDef GPIO_InitStruct = {0};

  /* GPIO Ports Clock Enable */
  __HAL_RCC_GPIOC_CLK_ENABLE();
  __HAL_RCC_GPIOH_CLK_ENABLE();
  __HAL_RCC_GPIOA_CLK_ENABLE();
  __HAL_RCC_GPIOB_CLK_ENABLE();
  __HAL_RCC_GPIOD_CLK_ENABLE();

  /*Configure GPIO pin Output Level */
  HAL_GPIO_WritePin(SPI1_SS1_GPIO_Port, SPI1_SS1_Pin, GPIO_PIN_SET);

  /*Configure GPIO pin Output Level */
  HAL_GPIO_WritePin(GPIOC, DRV_ENABLE_Pin|LED_CLIP_Pin, GPIO_PIN_RESET);

  /*Configure GPIO pin Output Level */
  HAL_GPIO_WritePin(GPIOB, DRV_BRAKE_Pin|SPI2_NSS_Pin|LED_SYS_Pin, GPIO_PIN_RESET);

  /*Configure GPIO pin Output Level */
  HAL_GPIO_WritePin(GPIOB, SPI1_SS2_Pin|SPI1_SS3_Pin, GPIO_PIN_SET);

  /*Configure GPIO pin Output Level */
  HAL_GPIO_WritePin(LED_ERR_GPIO_Port, LED_ERR_Pin, GPIO_PIN_RESET);

  /*Configure GPIO pins : DIN2_Pin DIN1_Pin DIN0_Pin */
  GPIO_InitStruct.Pin = DIN2_Pin|DIN1_Pin|DIN0_Pin;
  GPIO_InitStruct.Mode = GPIO_MODE_INPUT;
  GPIO_InitStruct.Pull = GPIO_PULLUP;
  HAL_GPIO_Init(GPIOC, &GPIO_InitStruct);

  /*Configure GPIO pin : SPI1_SS1_Pin */
  GPIO_InitStruct.Pin = SPI1_SS1_Pin;
  GPIO_InitStruct.Mode = GPIO_MODE_OUTPUT_PP;
  GPIO_InitStruct.Pull = GPIO_NOPULL;
  GPIO_InitStruct.Speed = GPIO_SPEED_FREQ_VERY_HIGH;
  HAL_GPIO_Init(SPI1_SS1_GPIO_Port, &GPIO_InitStruct);

  /*Configure GPIO pins : DRV_ENABLE_Pin LED_CLIP_Pin */
  GPIO_InitStruct.Pin = DRV_ENABLE_Pin|LED_CLIP_Pin;
  GPIO_InitStruct.Mode = GPIO_MODE_OUTPUT_PP;
  GPIO_InitStruct.Pull = GPIO_NOPULL;
  GPIO_InitStruct.Speed = GPIO_SPEED_FREQ_LOW;
  HAL_GPIO_Init(GPIOC, &GPIO_InitStruct);

  /*Configure GPIO pins : FLAG_Pin ENCODER_Z_Pin */
  GPIO_InitStruct.Pin = FLAG_Pin|ENCODER_Z_Pin;
  GPIO_InitStruct.Mode = GPIO_MODE_IT_RISING;
  GPIO_InitStruct.Pull = GPIO_NOPULL;
  HAL_GPIO_Init(GPIOC, &GPIO_InitStruct);

  /*Configure GPIO pin : DRV_BRAKE_Pin */
  GPIO_InitStruct.Pin = DRV_BRAKE_Pin;
  GPIO_InitStruct.Mode = GPIO_MODE_OUTPUT_PP;
  GPIO_InitStruct.Pull = GPIO_NOPULL;
  GPIO_InitStruct.Speed = GPIO_SPEED_FREQ_MEDIUM;
  HAL_GPIO_Init(DRV_BRAKE_GPIO_Port, &GPIO_InitStruct);

  /*Configure GPIO pins : SPI1_SS2_Pin SPI1_SS3_Pin */
  GPIO_InitStruct.Pin = SPI1_SS2_Pin|SPI1_SS3_Pin;
  GPIO_InitStruct.Mode = GPIO_MODE_OUTPUT_PP;
  GPIO_InitStruct.Pull = GPIO_NOPULL;
  GPIO_InitStruct.Speed = GPIO_SPEED_FREQ_VERY_HIGH;
  HAL_GPIO_Init(GPIOB, &GPIO_InitStruct);

  /*Configure GPIO pin : BUTTON_A_Pin */
  GPIO_InitStruct.Pin = BUTTON_A_Pin;
  GPIO_InitStruct.Mode = GPIO_MODE_IT_RISING;
  GPIO_InitStruct.Pull = GPIO_NOPULL;
  HAL_GPIO_Init(BUTTON_A_GPIO_Port, &GPIO_InitStruct);

  /*Configure GPIO pin : SPI2_NSS_Pin */
  GPIO_InitStruct.Pin = SPI2_NSS_Pin;
  GPIO_InitStruct.Mode = GPIO_MODE_OUTPUT_PP;
  GPIO_InitStruct.Pull = GPIO_NOPULL;
  GPIO_InitStruct.Speed = GPIO_SPEED_FREQ_HIGH;
  HAL_GPIO_Init(SPI2_NSS_GPIO_Port, &GPIO_InitStruct);

  /*Configure GPIO pin : GP3_Pin */
  GPIO_InitStruct.Pin = GP3_Pin;
  GPIO_InitStruct.Mode = GPIO_MODE_ANALOG;
  GPIO_InitStruct.Pull = GPIO_NOPULL;
  HAL_GPIO_Init(GP3_GPIO_Port, &GPIO_InitStruct);

  /*Configure GPIO pins : GP2_Pin GP1_Pin */
  GPIO_InitStruct.Pin = GP2_Pin|GP1_Pin;
  GPIO_InitStruct.Mode = GPIO_MODE_ANALOG;
  GPIO_InitStruct.Pull = GPIO_NOPULL;
  HAL_GPIO_Init(GPIOC, &GPIO_InitStruct);

  /*Configure GPIO pin : LED_ERR_Pin */
  GPIO_InitStruct.Pin = LED_ERR_Pin;
  GPIO_InitStruct.Mode = GPIO_MODE_OUTPUT_PP;
  GPIO_InitStruct.Pull = GPIO_NOPULL;
  GPIO_InitStruct.Speed = GPIO_SPEED_FREQ_LOW;
  HAL_GPIO_Init(LED_ERR_GPIO_Port, &GPIO_InitStruct);

  /*Configure GPIO pins : DIN7_Pin DIN6_Pin DIN5_Pin DIN4_Pin
                           DIN3_Pin */
  GPIO_InitStruct.Pin = DIN7_Pin|DIN6_Pin|DIN5_Pin|DIN4_Pin
                          |DIN3_Pin;
  GPIO_InitStruct.Mode = GPIO_MODE_INPUT;
  GPIO_InitStruct.Pull = GPIO_PULLUP;
  HAL_GPIO_Init(GPIOB, &GPIO_InitStruct);

  /*Configure GPIO pin : LED_SYS_Pin */
  GPIO_InitStruct.Pin = LED_SYS_Pin;
  GPIO_InitStruct.Mode = GPIO_MODE_OUTPUT_PP;
  GPIO_InitStruct.Pull = GPIO_NOPULL;
  GPIO_InitStruct.Speed = GPIO_SPEED_FREQ_LOW;
  HAL_GPIO_Init(LED_SYS_GPIO_Port, &GPIO_InitStruct);

  /* EXTI interrupt init*/
  HAL_NVIC_SetPriority(EXTI2_IRQn, 6, 0);
  HAL_NVIC_EnableIRQ(EXTI2_IRQn);

}

/* USER CODE BEGIN 4 */
void RebootDFU(void) {
	*((unsigned long *)0x2001FFF0) = 0xDEADBEEF; // End of RAM
	NVIC_SystemReset();
}
/* USER CODE END 4 */

__weak void StartDefaultTask(void *argument)
{
  /* USER CODE BEGIN 5 */
	HAL_GPIO_WritePin(LED_ERR_GPIO_Port, LED_ERR_Pin, GPIO_PIN_RESET);
	HAL_GPIO_WritePin(LED_CLIP_GPIO_Port, LED_CLIP_Pin, GPIO_PIN_RESET);
	HAL_GPIO_WritePin(LED_SYS_GPIO_Port, LED_SYS_Pin, GPIO_PIN_RESET);
  /* Infinite loop */
  for(;;)
  {
	cppmain();
    osDelay(1);
  }
  /* USER CODE END 5 */
}

void HAL_TIM_PeriodElapsedCallback(TIM_HandleTypeDef *htim)
{
  if (htim->Instance == TIM11) {
    HAL_IncTick();
  }
  /* USER CODE BEGIN Callback 1 */
  else{
	  HAL_TIM_PeriodElapsedCallback_CPP(htim);
  }
  /* USER CODE END Callback 1 */
}

void Error_Handler(void)
{
  /* USER CODE BEGIN Error_Handler_Debug */

	// Blink Error led quickly
	for(uint8_t i = 0; i< 5; i++){
		HAL_GPIO_WritePin(LED_ERR_GPIO_Port, LED_ERR_Pin, GPIO_PIN_SET);
		osDelay(50);
		HAL_GPIO_WritePin(LED_ERR_GPIO_Port, LED_ERR_Pin, GPIO_PIN_RESET);
		osDelay(50);
	}
  /* User can add his own implementation to report the HAL error return state */

  /* USER CODE END Error_Handler_Debug */
}

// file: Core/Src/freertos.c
/* USER CODE BEGIN Header */
/**
  ******************************************************************************
  * File Name          : freertos.c
  * Description        : Code for freertos applications
  ******************************************************************************
  * @attention
  *
  * <h2><center>&copy; Copyright (c) 2021 STMicroelectronics.
  * All rights reserved.</center></h2>
  *
  * This software component is licensed by ST under Ultimate Liberty license
  * SLA0044, the "License"; You may not use this file except in compliance with
  * the License. You may obtain a copy of the License at:
  *                             www.st.com/SLA0044
  *
  ******************************************************************************
  */
/* USER CODE END Header */

#include "FreeRTOS.h"
#include "task.h"
#include "main.h"

/* Hook prototypes */
void vApplicationTickHook(void);
void vApplicationStackOverflowHook(xTaskHandle xTask, signed char *pcTaskName);

/* USER CODE BEGIN 3 */
// Deleted
//void vApplicationTickHook( void )
//{
//   /* This function will be called by each tick interrupt if
//   configUSE_TICK_HOOK is set to 1 in FreeRTOSConfig.h. User code can be
//   added here, but the tick hook is called from an interrupt context, so
//   code must not attempt to block, and only the interrupt safe FreeRTOS API
//   functions can be used (those that end in FromISR()). */
//}
/* USER CODE END 3 */

/* USER CODE BEGIN 4 */
void vApplicationStackOverflowHook(xTaskHandle xTask, signed char *pcTaskName)
{
   /* Run time stack overflow checking is performed if
   configCHECK_FOR_STACK_OVERFLOW is defined to 1 or 2. This hook function is
   called if a stack overflow is detected. */
}
/* USER CODE END 4 */
